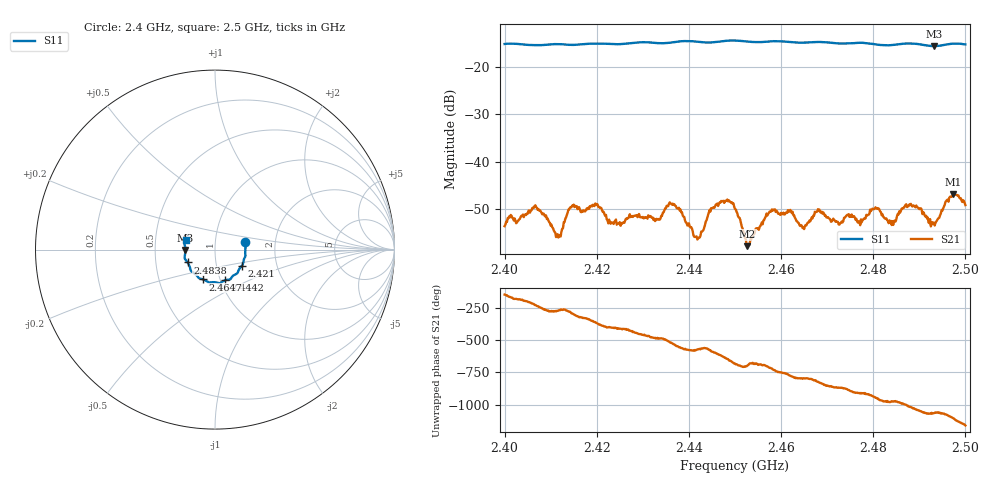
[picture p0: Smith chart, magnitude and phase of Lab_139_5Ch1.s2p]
# Hz S RI R 50
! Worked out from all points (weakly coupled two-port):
!   601 points, 2.4 GHz to 2.5 GHz, reference 50 ohm
!   highest |S21| = -46.87 dB at 2.4973 GHz (marker M1); lowest = -57.8 dB at 2.4527 GHz (marker M2)
!   lowest |S11| = -15.7 dB at 2.4932 GHz (marker M3), VSWR 1.40, Z = 35.8 - j0.0967 ohm
!   |S11| at or under -10 dB: start of sweep to end of sweep
!   S12 and S22 are empty: the file has one direction only
!   S11 on the Smith chart (normalised r, x): 2.4 GHz: 1.40, +0.12; 2.421 GHz: 1.33, -0.24; 2.4442 GHz: 1.05, -0.37; 2.4647 GHz: 0.83, -0.28; 2.4838 GHz: 0.73, -0.11; 2.5 GHz: 0.72, +0.08
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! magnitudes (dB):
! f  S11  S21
! 2.4 GHz  -15.2  -53.6
! 2.4065 GHz  -15.4  -49.6
! 2.4117 GHz  -15.2  -56.0
! 2.4143 GHz  -15.4  -49.6
! 2.4167 GHz  -15.3  -50.6
! 2.421 GHz  -15.1  -49.8
! 2.4333 GHz  -15.0  -52.2
! 2.4363 GHz  -14.9  -49.0
! 2.4418 GHz  -14.7  -56.4
! 2.4442 GHz  -14.9  -51.2
! 2.45 GHz  -14.5  -49.9
! 2.4527 GHz  -14.7  -57.8
! 2.4582 GHz  -14.6  -50.3
! 2.4647 GHz  -14.9  -54.0
! 2.4667 GHz  -14.8  -51.7
! 2.4807 GHz  -15.3  -49.8
! 2.4833 GHz  -15.5  -52.9
! 2.4838 GHz  -15.5  -52.5
! 2.4883 GHz  -15.1  -49.3
! 2.4932 GHz  -15.7  -52.8
! 2.4973 GHz  -15.1  -46.9
! 2.5 GHz  -15.3  -49.1
